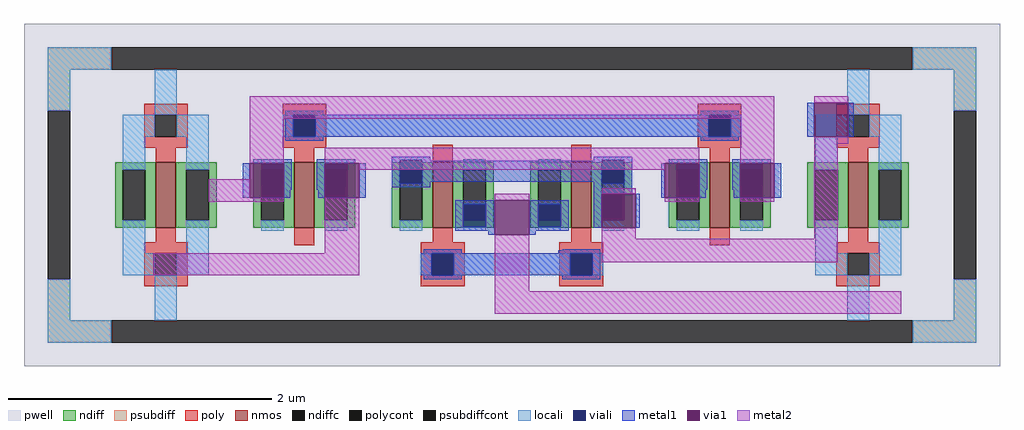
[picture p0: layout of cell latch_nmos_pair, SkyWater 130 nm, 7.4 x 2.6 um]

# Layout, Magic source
magic
tech sky130A
<< pwell >>
rect -370 -130 370 130
<< nmos >>
rect -270 -25 -255 25
rect -165 -25 -150 25
rect -60 -25 -45 25
rect 45 -25 60 25
rect 150 -25 165 25
rect 255 -25 270 25
<< ndiff >>
rect -301 19 -270 25
rect -301 -19 -295 19
rect -278 -19 -270 19
rect -301 -25 -270 -19
rect -255 19 -224 25
rect -255 -19 -247 19
rect -230 -19 -224 19
rect -255 -25 -224 -19
rect -196 19 -165 25
rect -196 -19 -190 19
rect -173 -19 -165 19
rect -196 -25 -165 -19
rect -150 19 -119 25
rect -150 -19 -142 19
rect -125 -19 -119 19
rect -150 -25 -119 -19
rect -91 19 -60 25
rect -91 -19 -85 19
rect -68 -19 -60 19
rect -91 -25 -60 -19
rect -45 19 -14 25
rect -45 -19 -37 19
rect -20 -19 -14 19
rect -45 -25 -14 -19
rect 14 19 45 25
rect 14 -19 20 19
rect 37 -19 45 19
rect 14 -25 45 -19
rect 60 19 91 25
rect 60 -19 68 19
rect 85 -19 91 19
rect 60 -25 91 -19
rect 119 19 150 25
rect 119 -19 125 19
rect 142 -19 150 19
rect 119 -25 150 -19
rect 165 19 196 25
rect 165 -19 173 19
rect 190 -19 196 19
rect 165 -25 196 -19
rect 224 19 255 25
rect 224 -19 230 19
rect 247 -19 255 19
rect 224 -25 255 -19
rect 270 19 301 25
rect 270 -19 278 19
rect 295 -19 301 19
rect 270 -25 301 -19
<< ndiffc >>
rect -295 -19 -278 19
rect -247 -19 -230 19
rect -190 -19 -173 19
rect -142 -19 -125 19
rect -85 -19 -68 19
rect -37 -19 -20 19
rect 20 -19 37 19
rect 68 -19 85 19
rect 125 -19 142 19
rect 173 -19 190 19
rect 230 -19 247 19
rect 278 -19 295 19
<< psubdiff >>
rect -352 95 -304 112
rect 304 95 352 112
rect -352 64 -335 95
rect 335 64 352 95
rect -352 -95 -335 -64
rect 335 -95 352 -64
rect -352 -112 -304 -95
rect 304 -112 352 -95
<< psubdiffcont >>
rect -304 95 304 112
rect -352 -64 -335 64
rect 335 -64 352 64
rect -304 -112 304 -95
<< poly >>
rect -279 61 -246 69
rect -279 44 -271 61
rect -254 44 -246 61
rect -279 36 -246 44
rect -174 61 -141 69
rect -174 44 -166 61
rect -149 44 -141 61
rect -174 36 -141 44
rect 141 61 174 69
rect 141 44 149 61
rect 166 44 174 61
rect -270 25 -255 36
rect -165 25 -150 36
rect -60 25 -45 38
rect 45 25 60 38
rect 141 36 174 44
rect 246 61 279 69
rect 246 44 254 61
rect 271 44 279 61
rect 246 36 279 44
rect 150 25 165 36
rect 255 25 270 36
rect -270 -36 -255 -25
rect -279 -44 -246 -36
rect -165 -38 -150 -25
rect -60 -36 -45 -25
rect 45 -36 60 -25
rect -279 -61 -271 -44
rect -254 -61 -246 -44
rect -279 -69 -246 -61
rect -69 -44 -36 -36
rect -69 -61 -61 -44
rect -44 -61 -36 -44
rect -69 -69 -36 -61
rect 36 -44 69 -36
rect 150 -38 165 -25
rect 255 -36 270 -25
rect 36 -61 44 -44
rect 61 -61 69 -44
rect 36 -69 69 -61
rect 246 -44 279 -36
rect 246 -61 254 -44
rect 271 -61 279 -44
rect 246 -69 279 -61
<< polycont >>
rect -271 44 -254 61
rect -166 44 -149 61
rect 149 44 166 61
rect 254 44 271 61
rect -271 -61 -254 -44
rect -61 -61 -44 -44
rect 44 -61 61 -44
rect 254 -61 271 -44
<< locali >>
rect -352 95 -304 112
rect 304 95 352 112
rect -352 64 -335 95
rect -271 61 -254 95
rect 254 61 271 95
rect 335 64 352 95
rect -295 44 -271 61
rect -254 44 -230 61
rect -174 44 -166 61
rect -149 44 149 61
rect 166 44 174 61
rect 230 44 254 61
rect 271 44 295 61
rect -295 19 -278 44
rect -295 -44 -278 -19
rect -247 19 -230 44
rect -247 -44 -230 -19
rect -190 24 -173 27
rect -190 -27 -173 -19
rect -142 24 -125 27
rect -142 -27 -125 -19
rect -85 26 -68 27
rect -85 -27 -68 -19
rect -37 19 -20 27
rect -37 -27 -20 -24
rect 20 19 37 27
rect 20 -27 37 -24
rect 68 26 85 27
rect 68 -27 85 -19
rect 125 24 142 27
rect 125 -27 142 -19
rect 173 24 190 27
rect 173 -27 190 -19
rect 230 19 247 44
rect 230 -44 247 -19
rect 278 19 295 44
rect 278 -44 295 -19
rect -295 -61 -271 -44
rect -254 -61 -230 -44
rect -69 -61 -61 -44
rect -44 -61 44 -44
rect 61 -61 69 -44
rect 230 -61 254 -44
rect 271 -61 295 -44
rect -352 -95 -335 -64
rect -271 -95 -254 -61
rect 254 -95 271 -61
rect 335 -95 352 -64
rect -352 -112 -304 -95
rect 304 -112 352 -95
<< viali >>
rect -166 44 -149 61
rect 149 44 166 61
rect -190 19 -173 24
rect -190 7 -173 19
rect -142 19 -125 24
rect -142 7 -125 19
rect -85 19 -68 26
rect -85 9 -68 19
rect -37 -19 -20 -7
rect -37 -24 -20 -19
rect 20 -19 37 -7
rect 20 -24 37 -19
rect 68 19 85 26
rect 68 9 85 19
rect 125 19 142 24
rect 125 7 142 19
rect 173 19 190 24
rect 173 7 190 19
rect -61 -61 -44 -44
rect 44 -61 61 -44
<< metal1 >>
rect -172 61 -143 64
rect 143 61 172 64
rect -172 44 -166 61
rect -149 44 149 61
rect 166 44 174 61
rect 224 44 229 70
rect 255 44 259 70
rect -172 41 -143 44
rect 143 41 172 44
rect -196 24 -167 27
rect -204 -2 -199 24
rect -173 4 -167 24
rect -148 24 -119 27
rect -91 26 -62 29
rect 62 26 91 29
rect -148 4 -142 24
rect -173 -2 -168 4
rect -147 -2 -142 4
rect -116 -2 -111 24
rect -91 9 -85 26
rect -68 10 68 26
rect -68 9 -62 10
rect -91 6 -62 9
rect 62 9 68 10
rect 85 9 91 26
rect 119 24 148 27
rect 62 1 91 9
rect -43 -7 -13 -4
rect -43 -24 -37 -7
rect -20 -24 -13 -7
rect -43 -27 -13 -24
rect -18 -30 -13 -27
rect 13 -7 43 -4
rect 13 -24 20 -7
rect 37 -24 43 -7
rect 13 -27 43 -24
rect 62 -25 68 1
rect 94 -25 97 1
rect 113 -2 116 24
rect 142 4 148 24
rect 167 24 196 27
rect 167 4 173 24
rect 142 -2 147 4
rect 168 -2 173 4
rect 199 -2 204 24
rect 13 -30 18 -27
rect -67 -44 -38 -41
rect 38 -42 67 -41
rect 35 -44 67 -42
rect -69 -61 -61 -44
rect -44 -61 44 -44
rect 61 -61 67 -44
rect -67 -64 -38 -61
rect 38 -64 67 -61
<< via1 >>
rect 229 44 255 70
rect -199 7 -190 24
rect -190 7 -173 24
rect -199 -2 -173 7
rect -142 7 -125 24
rect -125 7 -116 24
rect -142 -2 -116 7
rect -13 -30 13 -4
rect 68 -25 94 1
rect 116 7 125 24
rect 125 7 142 24
rect 116 -2 142 7
rect 173 7 190 24
rect 190 7 199 24
rect 173 -2 199 7
<< metal2 >>
rect -199 58 199 75
rect -199 24 -173 58
rect -230 -2 -199 12
rect -230 -5 -173 -2
rect -142 24 142 36
rect -116 19 116 24
rect 68 1 94 5
rect -142 -44 -116 -2
rect -272 -61 -116 -44
rect -13 -4 13 1
rect -13 -73 13 -30
rect 116 -5 142 -2
rect 173 24 199 58
rect 173 -5 199 -2
rect 229 70 255 75
rect 229 39 255 44
rect 68 -33 94 -25
rect 229 -33 247 39
rect 68 -51 247 -33
rect -13 -90 295 -73
<< properties >>
string FIXED_BBOX -343 -103 343 103
string gencell sky130_fd_pr__nfet_01v8
string library sky130
string parameters w 0.5 l 0.150 m 1 nf 6 diffcov 100 polycov 100 guard 1 glc 1 grc 1 gtc 1 gbc 1 tbcov 100 rlcov 100 topc 1 botc 1 poverlap 0 doverlap 0 lmin 0.15 wmin 0.42 compatible {sky130_fd_pr__nfet_01v8 sky130_fd_pr__nfet_01v8_lvt  sky130_fd_bs_flash__special_sonosfet_star  sky130_fd_pr__nfet_g5v0d10v5 sky130_fd_pr__nfet_05v0_nvt  sky130_fd_pr__nfet_03v3_nvt} full_metal 1 viasrc 100 viadrn 100 viagate 100 viagb 0 viagr 0 viagl 0 viagt 0
<< end >>
